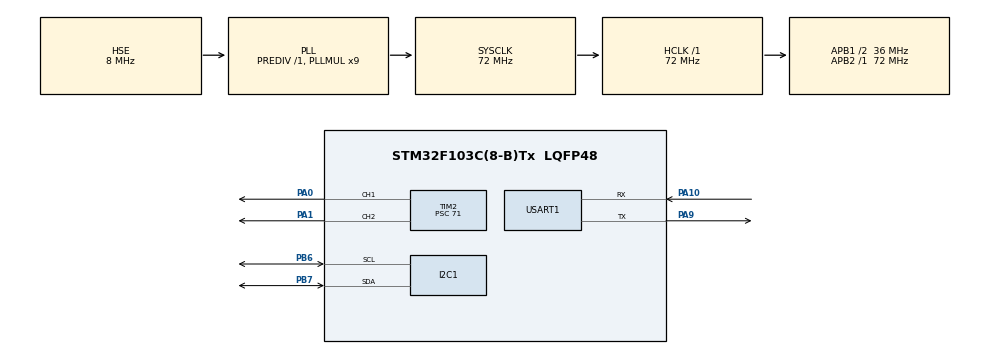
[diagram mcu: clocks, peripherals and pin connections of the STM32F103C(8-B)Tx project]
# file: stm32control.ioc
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I2C1.I2C_Mode=I2C_Fast
Mcu.Family=STM32F1
Mcu.Name=STM32F103C(8-B)Tx
Mcu.Package=LQFP48
NVIC.PriorityGroup=NVIC_PRIORITYGROUP_4
NVIC.USART1_IRQn=true\:0\:0\:false\:false\:true\:true\:false\:false
PA0-WKUP.Signal=S_TIM2_CH1_ETR
PA1.Signal=S_TIM2_CH2
PA10.Mode=Asynchronous
PA10.Signal=USART1_RX
PA13.Mode=Serial_Wire
PA13.Signal=SYS_JTMS-SWDIO
PA14.Mode=Serial_Wire
PA14.Signal=SYS_JTCK-SWCLK
PA9.Mode=Asynchronous
PA9.Signal=USART1_TX
PB6.Mode=I2C
PB6.Signal=I2C1_SCL
PB7.Mode=I2C
PB7.Signal=I2C1_SDA
PD0-OSC_IN.Mode=HSE-External-Oscillator
PD0-OSC_IN.Signal=RCC_OSC_IN
PD1-OSC_OUT.Mode=HSE-External-Oscillator
PD1-OSC_OUT.Signal=RCC_OSC_OUT
ProjectManager.HeapSize=0x200
ProjectManager.StackSize=0x400
ProjectManager.TargetToolchain=CMake
RCC.AHBFreq_Value=72000000
RCC.APB1CLKDivider=RCC_HCLK_DIV2
RCC.APB1Freq_Value=36000000
RCC.APB1TimFreq_Value=72000000
RCC.APB2Freq_Value=72000000
RCC.APB2TimFreq_Value=72000000
RCC.HCLKFreq_Value=72000000
RCC.PLLMUL=RCC_PLL_MUL9
RCC.PLLSourceVirtual=RCC_PLLSOURCE_HSE
RCC.SYSCLKFreq_VALUE=72000000
RCC.SYSCLKSource=RCC_SYSCLKSOURCE_PLLCLK
RCC.USBFreq_Value=72000000
SH.S_TIM2_CH1_ETR.0=TIM2_CH1,PWM Generation1 CH1
SH.S_TIM2_CH2.0=TIM2_CH2,PWM Generation2 CH2
TIM2.AutoReloadPreload=TIM_AUTORELOAD_PRELOAD_ENABLE
TIM2.Channel-PWM\ Generation1\ CH1=TIM_CHANNEL_1
TIM2.Channel-PWM\ Generation2\ CH2=TIM_CHANNEL_2
TIM2.Period=19999
TIM2.Prescaler=71
USART1.VirtualMode=VM_ASYNC
board=custom

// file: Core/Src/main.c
/* USER CODE BEGIN Header */
/**
  ******************************************************************************
  * @file           : main.c
  * @brief          : Main program body
  ******************************************************************************
  * @attention
  *
  * Copyright (c) 2026 STMicroelectronics.
  * All rights reserved.
  *
  * This software is licensed under terms that can be found in the LICENSE file
  * in the root directory of this software component.
  * If no LICENSE file comes with this software, it is provided AS-IS.
  *
  ******************************************************************************
  */
/* USER CODE END Header */
#include "main.h"

/* USER CODE BEGIN Includes */
#include "oled.h"
/* USER CODE END Includes */

/* USER CODE BEGIN PD */
/* 舵机 PWM 参数 */
#define SERVO_PULSE_MIN    500    /* 0°   → 0.5ms */
#define SERVO_PULSE_MAX    2500   /* 180° → 2.5ms */
#define SERVO_RANGE_MIN    0      /* 舵机机械最小角度 */
#define SERVO_RANGE_MAX    180    /* 舵机机械最大角度 */

/* 主循环节奏 — 非阻塞时间片 (ms) */
#define LOOP_PERIOD_MS     20

/* 串口协议帧: [0xAA] [0x55] [pan] [tilt] [track_id] [checksum], checksum=(pan+tilt+id)&0xFF */
#define FRAME_HEAD1        0xAA
#define FRAME_HEAD2        0x55

/* 舵机控制参数 — Python端已做 EMA+增益平滑，STM32端只保留死区+限速 */
#define DEAD_ZONE_PAN      2      /* 水平死区（度） */
#define DEAD_ZONE_TILT     2      /* 俯仰死区（度） */
#define MAX_STEP_PAN       10     /* 水平每周期最大步长（度）：小误差一步到位，大误差限速 */
#define MAX_STEP_TILT      6      /* 俯仰每周期最大步长（度） */
#define PAN_INVERT         1      /* 水平舵机机械方向反向补偿 (1=反向, 0=同向) */
/* USER CODE END PD */

I2C_HandleTypeDef hi2c1;

TIM_HandleTypeDef htim2;

UART_HandleTypeDef huart1;

/* USER CODE BEGIN PV */
/* ── 串口接收状态机 ── 帧头同步：丢一字节也能在下一帧自动重新对齐 */
typedef enum {
    RX_WAIT_HEAD1 = 0,
    RX_WAIT_HEAD2,
    RX_WAIT_PAN,
    RX_WAIT_TILT,
    RX_WAIT_ID,
    RX_WAIT_CHK,
} rx_state_t;

volatile rx_state_t rx_state   = RX_WAIT_HEAD1;
volatile uint8_t    rx_byte    = 0;              /* 中断接收临时缓冲 */
volatile uint8_t    rx_buf[3]  = {90, 90, 0};    /* 当前帧暂存 [pan, tilt, track_id] */
volatile uint8_t    rx_bytes[3] = {90, 90, 0};   /* 最近一帧有效数据 [水平, 俯仰, 跟踪ID] */
volatile uint32_t   rx_count   = 0;              /* 已收到的有效帧计数 */
volatile uint32_t   rx_bytes_seen = 0;           /* 已收到的字节计数（LED 诊断用） */
volatile uint32_t   rx_drops   = 0;              /* 校验失败/丢帧计数（调试用） */

int pan_angle  = 90;        /* 当前水平舵机角度 */
int tilt_angle = 90;        /* 当前俯仰舵机角度 */
/* USER CODE END PV */

void SystemClock_Config(void);
static void MX_GPIO_Init(void);
static void MX_TIM2_Init(void);
static void MX_USART1_UART_Init(void);
static void MX_I2C1_Init(void);
/* USER CODE BEGIN PFP */
static void Servo_SetPan(int angle);
static void Servo_SetTilt(int angle);
/* USER CODE END PFP */

/* USER CODE BEGIN 0 */

/**
 * @brief  设置水平舵机角度 (TIM2_CH1)
 */
static void Servo_SetPan(int angle)
{
    if (angle < 0)   angle = 0;
    if (angle > 180) angle = 180;
    uint32_t pulse = SERVO_PULSE_MIN + (uint32_t)((float)angle / 180.0f * (SERVO_PULSE_MAX - SERVO_PULSE_MIN));
    __HAL_TIM_SET_COMPARE(&htim2, TIM_CHANNEL_1, pulse);
}

/**
 * @brief  设置俯仰舵机角度 (TIM2_CH2)
 */
static void Servo_SetTilt(int angle)
{
    if (angle < 0)   angle = 0;
    if (angle > 180) angle = 180;
    uint32_t pulse = SERVO_PULSE_MIN + (uint32_t)((float)angle / 180.0f * (SERVO_PULSE_MAX - SERVO_PULSE_MIN));
    __HAL_TIM_SET_COMPARE(&htim2, TIM_CHANNEL_2, pulse);
}

/* USER CODE END 0 */

int main(void)
{

  /* MCU Configuration--------------------------------------------------------*/

  /* Reset of all peripherals, Initializes the Flash interface and the Systick. */
  HAL_Init();

  /* Configure the system clock */
  SystemClock_Config();

  /* Initialize all configured peripherals */
  MX_GPIO_Init();
  MX_TIM2_Init();
  MX_USART1_UART_Init();
  MX_I2C1_Init();
  /* USER CODE BEGIN 2 */
  /* 启动串口中断接收 — 必须放在 USER CODE 区,否则 CubeMX 重新生成会清掉 */
  HAL_UART_Receive_IT(&huart1, (uint8_t *)&rx_byte, 1);
  /* LED 闪烁 2 次 — 指示芯片已启动 */
  for (int i = 0; i < 2; i++) {
    HAL_GPIO_WritePin(GPIOC, GPIO_PIN_13, GPIO_PIN_RESET); /* 亮 */
    HAL_Delay(200);
    HAL_GPIO_WritePin(GPIOC, GPIO_PIN_13, GPIO_PIN_SET);   /* 灭 */
    HAL_Delay(200);
  }

  HAL_TIM_PWM_Start(&htim2, TIM_CHANNEL_1);
  HAL_TIM_PWM_Start(&htim2, TIM_CHANNEL_2);

  /* ── 舵机上电自检（逐个测，避开极端位置防供电不足）── */
  Servo_SetTilt(90);
  Servo_SetPan(30);  HAL_Delay(500);
  Servo_SetPan(150); HAL_Delay(500);
  Servo_SetPan(90);  HAL_Delay(500);

  /* ── OLED 初始化 + 启动画面 ── */
  OLED_Init();
  OLED_DrawString(0, 0, "PAN:---");
  OLED_DrawString(0, 1, "TLT:---");
  OLED_DrawString(0, 2, "ID:---");
  OLED_DrawString(0, 4, "SERVO READY");
  OLED_Refresh();
  /* USER CODE END 2 */

  /* Infinite loop */
  /* USER CODE BEGIN WHILE */
  uint32_t last_loop_tick = HAL_GetTick();
  while (1)
  {
    uint32_t now = HAL_GetTick();

    /* LED 三态故障诊断：
       常亮     = 收到有效帧，系统正常 (rx_count>0)
       慢闪 1Hz = 收到字节但无有效帧（协议不匹配 / 校验失败）
       快闪 5Hz = 完全没收到字节（接线 / 串口号 / 波特率 / 中断问题） */
    static uint32_t led_tick = 0;
    static int led_state = 0;
    if (rx_count > 0) {
        HAL_GPIO_WritePin(GPIOC, GPIO_PIN_13, GPIO_PIN_RESET);   /* 常亮 */
    } else {
        uint32_t blink_period = (rx_bytes_seen > 0) ? 500 : 100; /* 慢闪 / 快闪 */
        if (now - led_tick >= blink_period) {
            led_tick = now;
            led_state = !led_state;
            HAL_GPIO_WritePin(GPIOC, GPIO_PIN_13,
                              led_state ? GPIO_PIN_RESET : GPIO_PIN_SET);
        }
    }

    /* 非阻塞时间片：每 LOOP_PERIOD_MS ms 更新一次舵机，不阻塞中断 */
    if (now - last_loop_tick >= LOOP_PERIOD_MS) {
        last_loop_tick = now;

        /* ═══ 水平：机械方向补偿 → 死区 + 可变步长（EMA 已在 Python 端完成） ═══ */
        int target_pan = PAN_INVERT ? (180 - (int)rx_bytes[0]) : (int)rx_bytes[0];
        int diff_pan = target_pan - pan_angle;
        if (diff_pan > DEAD_ZONE_PAN) {
            pan_angle += (diff_pan > MAX_STEP_PAN ? MAX_STEP_PAN : diff_pan);
        } else if (diff_pan < -DEAD_ZONE_PAN) {
            pan_angle -= (-diff_pan > MAX_STEP_PAN ? MAX_STEP_PAN : -diff_pan);
        }
        if (pan_angle > SERVO_RANGE_MAX) pan_angle = SERVO_RANGE_MAX;
        if (pan_angle < SERVO_RANGE_MIN) pan_angle = SERVO_RANGE_MIN;
        Servo_SetPan(pan_angle);

        /* ═══ 俯仰：死区 + 可变步长 ═══ */
        int target_tilt = (int)rx_bytes[1];
        int diff_tilt = target_tilt - tilt_angle;
        if (diff_tilt > DEAD_ZONE_TILT) {
            tilt_angle += (diff_tilt > MAX_STEP_TILT ? MAX_STEP_TILT : diff_tilt);
        } else if (diff_tilt < -DEAD_ZONE_TILT) {
            tilt_angle -= (-diff_tilt > MAX_STEP_TILT ? MAX_STEP_TILT : -diff_tilt);
        }
        if (tilt_angle > SERVO_RANGE_MAX) tilt_angle = SERVO_RANGE_MAX;
        if (tilt_angle < SERVO_RANGE_MIN) tilt_angle = SERVO_RANGE_MIN;
        Servo_SetTilt(tilt_angle);
    }

    /* OLED 显示:每 ~200ms 刷一次 (10Hz,够人眼看;I2C 阻塞约 24ms 不影响舵机) */
    static uint32_t last_oled_tick = 0;
    if (now - last_oled_tick >= 200) {
        last_oled_tick = now;
        OLED_Clear();
        OLED_DrawString(0, 0, "PAN:");
        OLED_DrawInt(30, 0, pan_angle, 3);
        OLED_DrawString(0, 1, "TLT:");
        OLED_DrawInt(30, 1, tilt_angle, 3);
        int tid = (int)rx_bytes[2];
        if (tid > 0) {
            OLED_DrawString(0, 2, "ID:");
            OLED_DrawInt(24, 2, tid, 3);
        } else {
            OLED_DrawString(0, 2, "ID:---");
        }
        OLED_Refresh();
    }
    /* USER CODE END WHILE */

  }
}

void SystemClock_Config(void)
{
  RCC_OscInitTypeDef RCC_OscInitStruct = {0};
  RCC_ClkInitTypeDef RCC_ClkInitStruct = {0};

  /** Initializes the RCC Oscillators according to the specified parameters
  * in the RCC_OscInitTypeDef structure.
  */
  RCC_OscInitStruct.OscillatorType = RCC_OSCILLATORTYPE_HSE;
  RCC_OscInitStruct.HSEState = RCC_HSE_ON;
  RCC_OscInitStruct.HSEPredivValue = RCC_HSE_PREDIV_DIV1;
  RCC_OscInitStruct.HSIState = RCC_HSI_ON;
  RCC_OscInitStruct.PLL.PLLState = RCC_PLL_ON;
  RCC_OscInitStruct.PLL.PLLSource = RCC_PLLSOURCE_HSE;
  RCC_OscInitStruct.PLL.PLLMUL = RCC_PLL_MUL9;
  if (HAL_RCC_OscConfig(&RCC_OscInitStruct) != HAL_OK)
  {
    Error_Handler();
  }

  /** Initializes the CPU, AHB and APB buses clocks
  */
  RCC_ClkInitStruct.ClockType = RCC_CLOCKTYPE_HCLK|RCC_CLOCKTYPE_SYSCLK
                              |RCC_CLOCKTYPE_PCLK1|RCC_CLOCKTYPE_PCLK2;
  RCC_ClkInitStruct.SYSCLKSource = RCC_SYSCLKSOURCE_PLLCLK;
  RCC_ClkInitStruct.AHBCLKDivider = RCC_SYSCLK_DIV1;
  RCC_ClkInitStruct.APB1CLKDivider = RCC_HCLK_DIV2;
  RCC_ClkInitStruct.APB2CLKDivider = RCC_HCLK_DIV1;

  if (HAL_RCC_ClockConfig(&RCC_ClkInitStruct, FLASH_LATENCY_2) != HAL_OK)
  {
    Error_Handler();
  }
}

static void MX_I2C1_Init(void)
{

  hi2c1.Instance = I2C1;
  hi2c1.Init.ClockSpeed = 400000;
  hi2c1.Init.DutyCycle = I2C_DUTYCYCLE_2;
  hi2c1.Init.OwnAddress1 = 0;
  hi2c1.Init.AddressingMode = I2C_ADDRESSINGMODE_7BIT;
  hi2c1.Init.DualAddressMode = I2C_DUALADDRESS_DISABLE;
  hi2c1.Init.OwnAddress2 = 0;
  hi2c1.Init.GeneralCallMode = I2C_GENERALCALL_DISABLE;
  hi2c1.Init.NoStretchMode = I2C_NOSTRETCH_DISABLE;
  if (HAL_I2C_Init(&hi2c1) != HAL_OK)
  {
    Error_Handler();
  }

}

static void MX_TIM2_Init(void)
{

  TIM_MasterConfigTypeDef sMasterConfig = {0};
  TIM_OC_InitTypeDef sConfigOC = {0};

  htim2.Instance = TIM2;
  htim2.Init.Prescaler = 71;
  htim2.Init.CounterMode = TIM_COUNTERMODE_UP;
  htim2.Init.Period = 19999;
  htim2.Init.ClockDivision = TIM_CLOCKDIVISION_DIV1;
  htim2.Init.AutoReloadPreload = TIM_AUTORELOAD_PRELOAD_ENABLE;
  if (HAL_TIM_PWM_Init(&htim2) != HAL_OK)
  {
    Error_Handler();
  }
  sMasterConfig.MasterOutputTrigger = TIM_TRGO_RESET;
  sMasterConfig.MasterSlaveMode = TIM_MASTERSLAVEMODE_DISABLE;
  if (HAL_TIMEx_MasterConfigSynchronization(&htim2, &sMasterConfig) != HAL_OK)
  {
    Error_Handler();
  }
  sConfigOC.OCMode = TIM_OCMODE_PWM1;
  sConfigOC.Pulse = 0;
  sConfigOC.OCPolarity = TIM_OCPOLARITY_HIGH;
  sConfigOC.OCFastMode = TIM_OCFAST_DISABLE;
  if (HAL_TIM_PWM_ConfigChannel(&htim2, &sConfigOC, TIM_CHANNEL_1) != HAL_OK)
  {
    Error_Handler();
  }
  if (HAL_TIM_PWM_ConfigChannel(&htim2, &sConfigOC, TIM_CHANNEL_2) != HAL_OK)
  {
    Error_Handler();
  }
  HAL_TIM_MspPostInit(&htim2);

}

static void MX_USART1_UART_Init(void)
{

  huart1.Instance = USART1;
  huart1.Init.BaudRate = 115200;
  huart1.Init.WordLength = UART_WORDLENGTH_8B;
  huart1.Init.StopBits = UART_STOPBITS_1;
  huart1.Init.Parity = UART_PARITY_NONE;
  huart1.Init.Mode = UART_MODE_TX_RX;
  huart1.Init.HwFlowCtl = UART_HWCONTROL_NONE;
  huart1.Init.OverSampling = UART_OVERSAMPLING_16;
  if (HAL_UART_Init(&huart1) != HAL_OK)
  {
    Error_Handler();
  }

}

static void MX_GPIO_Init(void)
{

  /* GPIO Ports Clock Enable */
  __HAL_RCC_GPIOD_CLK_ENABLE();
  __HAL_RCC_GPIOA_CLK_ENABLE();
  __HAL_RCC_GPIOB_CLK_ENABLE();

  /* USER CODE BEGIN MX_GPIO_Init_2 */
  __HAL_RCC_GPIOC_CLK_ENABLE();
  /* PC13 板载 LED — 芯片运行指示灯 */
  GPIO_InitTypeDef GPIO_InitStruct = {0};
  GPIO_InitStruct.Pin = GPIO_PIN_13;
  GPIO_InitStruct.Mode = GPIO_MODE_OUTPUT_PP;
  GPIO_InitStruct.Pull = GPIO_NOPULL;
  GPIO_InitStruct.Speed = GPIO_SPEED_FREQ_LOW;
  HAL_GPIO_Init(GPIOC, &GPIO_InitStruct);
  HAL_GPIO_WritePin(GPIOC, GPIO_PIN_13, GPIO_PIN_SET); /* 初始灭 */
  /* USER CODE END MX_GPIO_Init_2 */
}

/* USER CODE BEGIN 4 */

/**
 * @brief  UART 接收完成回调 — 逐字节推进帧解析状态机
 *         帧: [0xAA][0x55][pan][tilt][checksum=(pan+tilt)&0xFF]
 *         任何字节丢失后，状态机在下一帧 0xAA→0x55 处自动重新同步。
 */
void HAL_UART_RxCpltCallback(UART_HandleTypeDef *huart)
{
    if (huart->Instance == USART1)
    {
        uint8_t b = rx_byte;
        rx_bytes_seen++;                       /* 任意字节都计数（LED 诊断用） */
        switch (rx_state)
        {
            case RX_WAIT_HEAD1:
                if (b == FRAME_HEAD1) rx_state = RX_WAIT_HEAD2;
                break;
            case RX_WAIT_HEAD2:
                if (b == FRAME_HEAD2) {
                    rx_state = RX_WAIT_PAN;
                } else if (b == FRAME_HEAD1) {
                    rx_state = RX_WAIT_HEAD2;   /* 连续 0xAA，继续等 0x55 */
                } else {
                    rx_state = RX_WAIT_HEAD1;
                }
                break;
            case RX_WAIT_PAN:
                rx_buf[0] = b;
                rx_state = RX_WAIT_TILT;
                break;
            case RX_WAIT_TILT:
                rx_buf[1] = b;
                rx_state = RX_WAIT_ID;
                break;
            case RX_WAIT_ID:
                rx_buf[2] = b;
                rx_state = RX_WAIT_CHK;
                break;
            case RX_WAIT_CHK:
                if (b == (uint8_t)((rx_buf[0] + rx_buf[1] + rx_buf[2]) & 0xFF)) {
                    rx_bytes[0] = rx_buf[0];    /* 校验通过 → 提交有效数据 */
                    rx_bytes[1] = rx_buf[1];
                    rx_bytes[2] = rx_buf[2];
                    rx_count++;
                } else {
                    rx_drops++;                  /* 校验失败，丢弃，等下一帧 */
                }
                rx_state = RX_WAIT_HEAD1;
                break;
        }
        HAL_UART_Receive_IT(&huart1, (uint8_t *)&rx_byte, 1);
    }
}

/**
 * @brief  UART 错误回调 — 出现 ORE/FE/NE 等错误时清标志并重启接收
 *         否则 HAL 在错误后会停止接收，导致永久收不到数据。
 */
void HAL_UART_ErrorCallback(UART_HandleTypeDef *huart)
{
    if (huart->Instance == USART1)
    {
        __HAL_UART_CLEAR_OREFLAG(huart);
        huart->ErrorCode = HAL_UART_ERROR_NONE;
        huart->RxState = HAL_UART_STATE_READY;  /* 强制复位，否则 Receive_IT 返回 HAL_BUSY 永久卡死 */
        rx_state = RX_WAIT_HEAD1;               /* 复位状态机，避免半帧残留 */
        HAL_UART_Receive_IT(&huart1, (uint8_t *)&rx_byte, 1);
    }
}

/* USER CODE END 4 */

void Error_Handler(void)
{
  __disable_irq();
  while (1)
  {
  }
}
